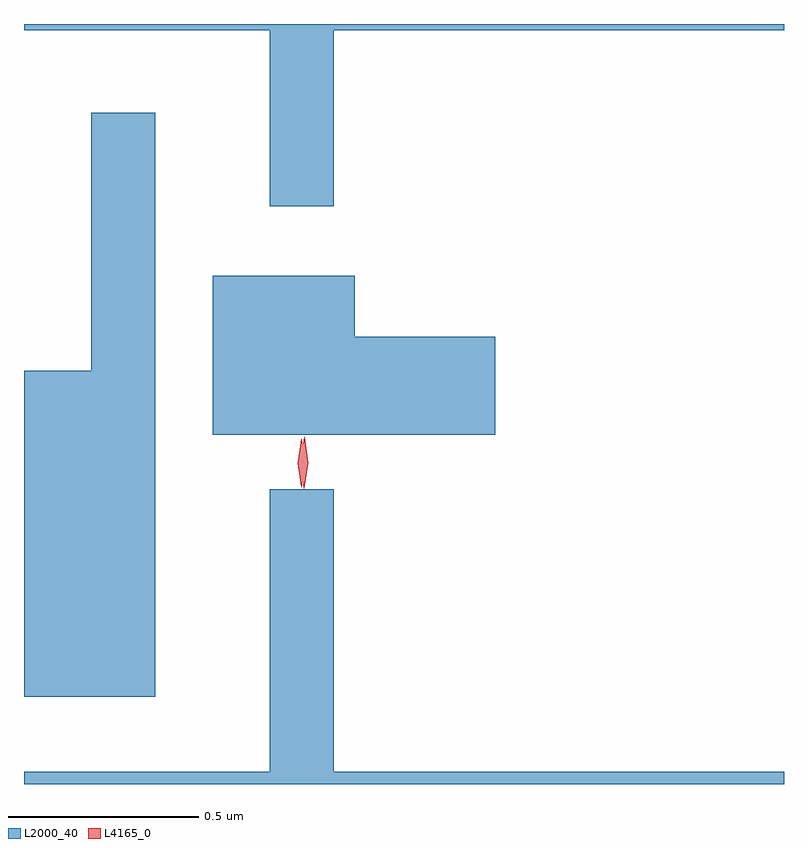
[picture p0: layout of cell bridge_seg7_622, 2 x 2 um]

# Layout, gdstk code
import gdstk
lib = gdstk.Library(unit=1e-6, precision=1e-09)
def P(c, l, *ps):  # polygons
    for p in ps: c.add(gdstk.Polygon(p, *l))
L2000_40 = (2000, 40)
L4165_0 = (4165, 0)

bridge_seg7_622 = lib.new_cell('bridge_seg7_622')
P(bridge_seg7_622, L2000_40, [(788.569,1783.136),(789.754,1783.136),(789.754,1783.152),(787.754,1783.152),(787.754,1783.136),(788.401,1783.136),(788.401,1782.673),(788.569,1782.673)],
  [(788.099,1782.918),(787.931,1782.918),(787.931,1782.239),(787.754,1782.239),(787.754,1781.381),(788.099,1781.381)],
  [(788.994,1782.329),(788.624,1782.329),(788.624,1782.489),(788.251,1782.489),(788.251,1782.071),(788.994,1782.071)],
  [(789.754,1781.184),(788.569,1781.184),(788.569,1781.928),(788.401,1781.928),(788.401,1781.184),(787.754,1781.184),(787.754,1781.152),(789.754,1781.152)])
P(bridge_seg7_622, L4165_0, [(788.485,1781.933),(788.484,1781.934),(788.475,1781.996),(788.484,1782.059),(788.484,1782.06),(788.485,1782.059),(788.495,1781.996),(788.485,1781.934)],
  [(788.49,1781.93),(788.482,1781.998),(788.492,1782.065),(788.493,1782.066),(788.493,1782.065),(788.502,1781.998),(788.491,1781.93),(788.491,1781.93)])

lib.write_gds('bridge_seg7_622.gds')
